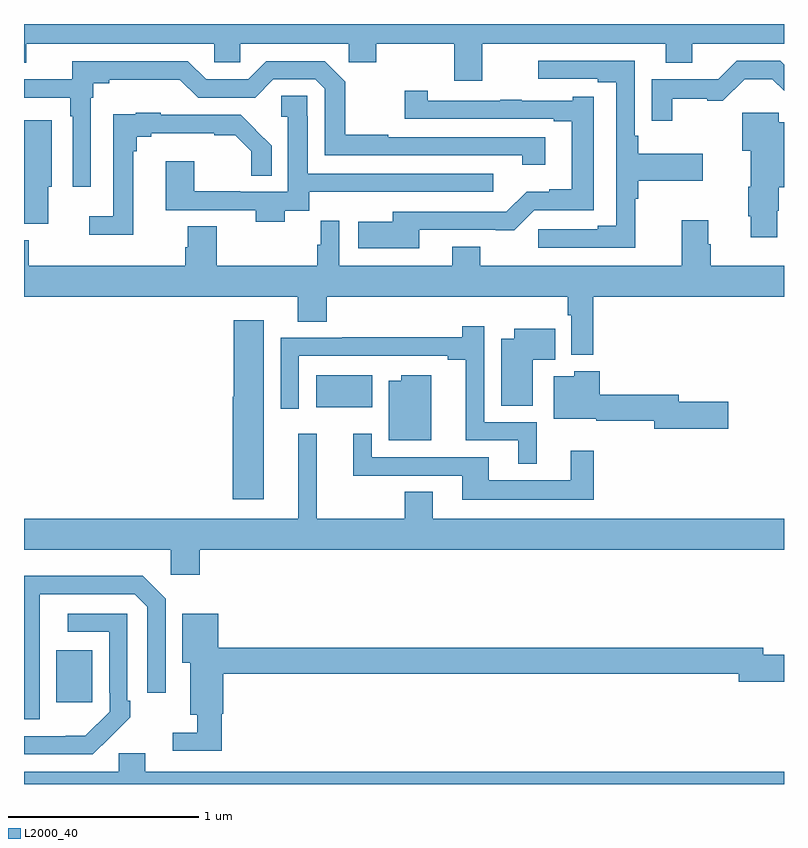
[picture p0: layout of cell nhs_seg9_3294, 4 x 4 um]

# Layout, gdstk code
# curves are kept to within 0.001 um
import gdstk
lib = gdstk.Library(unit=1e-6, precision=1e-09)
def R(c, l, rs):  # rectangles x0, y0, x1, y1
    for r in rs: c.add(gdstk.rectangle(r[:2], r[2:], *l))
def P(c, l, *ps):  # polygons
    for p in ps: c.add(gdstk.Polygon(p, *l))
L2000_40 = (2000, 40)

nhs_seg9_3294 = lib.new_cell('nhs_seg9_3294')
R(nhs_seg9_3294, L2000_40, [(299.171,1216.929,299.359,1217.203), (300.539,1218.482,300.832,1218.652)])
P(nhs_seg9_3294, L2000_40, [(301.411,1220.396),(302.378,1220.396),(302.378,1220.297),(302.518,1220.297),(302.518,1220.396),(303,1220.396),(303,1220.5),(299,1220.5),(299,1220.297),(299.011,1220.297),(299.011,1220.396),(300,1220.396),(300,1220.298),(300.138,1220.298),(300.138,1220.396),(300.709,1220.396),(300.709,1220.298),(300.855,1220.298),(300.855,1220.396),(301.264,1220.396),(301.264,1220.202),(301.411,1220.202)],
  [(302.413,1220.107),(302.597,1220.107),(302.597,1220.095),(302.678,1220.095),(302.793,1220.21),(302.938,1220.21),(303,1220.148),(303,1220.286),(302.979,1220.307),(302.751,1220.307),(302.654,1220.21),(302.304,1220.21),(302.304,1219.992),(302.413,1219.992)],
  [(302.217,1219.58),(302.234,1219.58),(302.234,1219.676),(302.572,1219.676),(302.572,1219.816),(302.234,1219.816),(302.234,1219.912),(302.214,1219.912),(302.214,1220.307),(301.707,1220.307),(301.707,1220.211),(302.021,1220.211),(302.021,1220.193),(302.118,1220.193),(302.118,1219.439),(302.021,1219.439),(302.021,1219.419),(301.707,1219.419),(301.707,1219.323),(302.217,1219.323)],
  [(299.352,1220.111),(299.365,1220.111),(299.365,1220.188),(299.449,1220.188),(299.449,1220.207),(299.821,1220.207),(299.916,1220.112),(300.216,1220.112),(300.312,1220.208),(300.534,1220.208),(300.582,1220.16),(300.582,1219.809),(301.623,1219.809),(301.623,1219.758),(301.744,1219.758),(301.744,1219.905),(300.917,1219.905),(300.917,1219.918),(300.691,1219.918),(300.691,1220.195),(300.582,1220.304),(300.276,1220.304),(300.18,1220.208),(299.958,1220.208),(299.862,1220.304),(299.254,1220.304),(299.254,1220.208),(299,1220.208),(299,1220.112),(299.244,1220.112),(299.244,1220.015),(299.256,1220.015),(299.256,1219.644),(299.352,1219.644)],
  [(301.081,1219.416),(301.58,1219.415),(301.686,1219.521),(301.999,1219.521),(301.999,1220.116),(301.887,1220.116),(301.887,1220.097),(301.619,1220.097),(301.619,1220.102),(301.507,1220.102),(301.507,1220.097),(301.125,1220.097),(301.125,1220.149),(301.005,1220.149),(301.005,1220.001),(301.787,1220.001),(301.787,1219.989),(301.883,1219.989),(301.883,1219.63),(301.764,1219.63),(301.764,1219.618),(301.645,1219.618),(301.539,1219.512),(300.941,1219.512),(300.941,1219.459),(300.759,1219.459),(300.759,1219.319),(301.081,1219.319)],
  [(300.373,1219.517),(300.502,1219.517),(300.502,1219.616),(300.771,1219.616),(300.771,1219.617),(301.471,1219.617),(301.471,1219.713),(300.493,1219.713),(300.493,1220.015),(300.492,1220.015),(300.492,1220.123),(300.354,1220.123),(300.354,1220.012),(300.389,1220.012),(300.389,1219.617),(300.137,1219.617),(300.137,1219.619),(299.895,1219.619),(299.895,1219.777),(299.747,1219.777),(299.747,1219.521),(300.221,1219.521),(300.221,1219.46),(300.373,1219.46)],
  [(299.575,1219.829),(299.593,1219.829),(299.593,1219.906),(299.671,1219.906),(299.671,1219.925),(300.002,1219.925),(300.002,1219.914),(300.111,1219.914),(300.195,1219.831),(300.195,1219.702),(300.304,1219.702),(300.304,1219.859),(300.22,1219.942),(300.221,1219.943),(300.142,1220.022),(299.721,1220.022),(299.721,1220.032),(299.589,1220.032),(299.589,1220.024),(299.471,1220.024),(299.471,1219.489),(299.343,1219.489),(299.343,1219.391),(299.575,1219.391)],
  [(302.965,1219.517),(302.973,1219.517),(302.973,1219.64),(303,1219.64),(303,1219.984),(302.973,1219.984),(302.973,1220.032),(302.78,1220.032),(302.78,1219.832),(302.825,1219.832),(302.825,1219.644),(302.813,1219.644),(302.813,1219.489),(302.825,1219.489),(302.825,1219.377),(302.965,1219.377)],
  [(299.128,1219.644),(299.146,1219.644),(299.146,1219.993),(299,1219.993),(299,1219.449),(299.128,1219.449)],
  [(303,1219.228),(302.615,1219.228),(302.615,1219.34),(302.602,1219.34),(302.602,1219.468),(302.462,1219.468),(302.462,1219.228),(301.401,1219.228),(301.401,1219.327),(301.253,1219.327),(301.253,1219.228),(300.66,1219.228),(300.66,1219.465),(300.563,1219.465),(300.563,1219.338),(300.544,1219.338),(300.544,1219.228),(300.014,1219.228),(300.014,1219.436),(299.861,1219.436),(299.861,1219.326),(299.849,1219.326),(299.849,1219.228),(299.024,1219.228),(299.024,1219.363),(299,1219.363),(299,1219.064),(300.44,1219.064),(300.44,1218.934),(300.593,1218.934),(300.593,1219.064),(301.861,1219.064),(301.861,1218.968),(301.881,1218.968),(301.881,1218.758),(301.997,1218.758),(301.997,1219.064),(303,1219.064)],
  [(300.262,1218.94),(300.104,1218.94),(300.104,1218.537),(300.098,1218.537),(300.098,1218),(300.262,1218)],
  [(301.699,1218.405),(301.422,1218.405),(301.422,1218.91),(301.306,1218.91),(301.306,1218.851),(300.676,1218.851),(300.676,1218.849),(300.351,1218.849),(300.351,1218.474),(300.447,1218.474),(300.447,1218.753),(301.229,1218.753),(301.229,1218.733),(301.325,1218.733),(301.325,1218.309),(301.601,1218.309),(301.601,1218.185),(301.699,1218.185)],
  [(301.678,1218.734),(301.796,1218.734),(301.796,1218.895),(301.58,1218.895),(301.58,1218.844),(301.511,1218.844),(301.511,1218.49),(301.678,1218.49)],
  [(302.707,1218.512),(302.446,1218.512),(302.446,1218.548),(302.03,1218.548),(302.03,1218.673),(301.896,1218.673),(301.896,1218.646),(301.787,1218.646),(301.787,1218.422),(302.013,1218.422),(302.013,1218.412),(302.318,1218.412),(302.318,1218.37),(302.707,1218.37)],
  [(301.144,1218.652),(300.986,1218.652),(300.986,1218.622),(300.92,1218.622),(300.92,1218.308),(301.144,1218.308)],
  [(301.999,1218.253),(301.877,1218.253),(301.877,1218.1),(301.447,1218.1),(301.447,1218.219),(300.831,1218.219),(300.831,1218.343),(300.734,1218.343),(300.734,1218.123),(301.307,1218.123),(301.307,1217.996),(301.999,1217.996)],
  [(299.924,1217.732),(303,1217.732),(303,1217.896),(301.15,1217.896),(301.15,1218.038),(301.003,1218.038),(301.003,1217.896),(300.542,1217.896),(300.542,1218.343),(300.443,1218.343),(300.443,1217.896),(299,1217.896),(299,1217.732),(299.772,1217.732),(299.772,1217.601),(299.924,1217.601)],
  [(299.082,1217.299),(299.083,1217.299),(299.083,1217.499),(299.583,1217.499),(299.649,1217.433),(299.649,1216.98),(299.745,1216.98),(299.745,1217.475),(299.624,1217.596),(299,1217.596),(299,1216.842),(299.082,1216.842)],
  [(299.453,1216.747),(299.454,1216.746),(299.559,1216.851),(299.559,1216.939),(299.544,1216.939),(299.544,1217.397),(299.229,1217.397),(299.229,1217.301),(299.448,1217.301),(299.448,1216.981),(299.451,1216.981),(299.451,1216.881),(299.323,1216.753),(299,1216.752),(299,1216.656),(299.362,1216.656)],
  [(300.041,1216.869),(300.049,1216.869),(300.049,1217.08),(302.762,1217.08),(302.762,1217.038),(303,1217.038),(303,1217.18),(302.89,1217.18),(302.89,1217.216),(300.022,1217.216),(300.022,1217.395),(299.834,1217.395),(299.834,1217.138),(299.876,1217.138),(299.876,1216.865),(299.913,1216.865),(299.913,1216.77),(299.784,1216.77),(299.784,1216.674),(300.041,1216.674)],
  [(303,1216.564),(299.638,1216.564),(299.638,1216.662),(299.499,1216.662),(299.499,1216.564),(299,1216.564),(299,1216.5),(303,1216.5)])

lib.write_gds('nhs_seg9_3294.gds')
